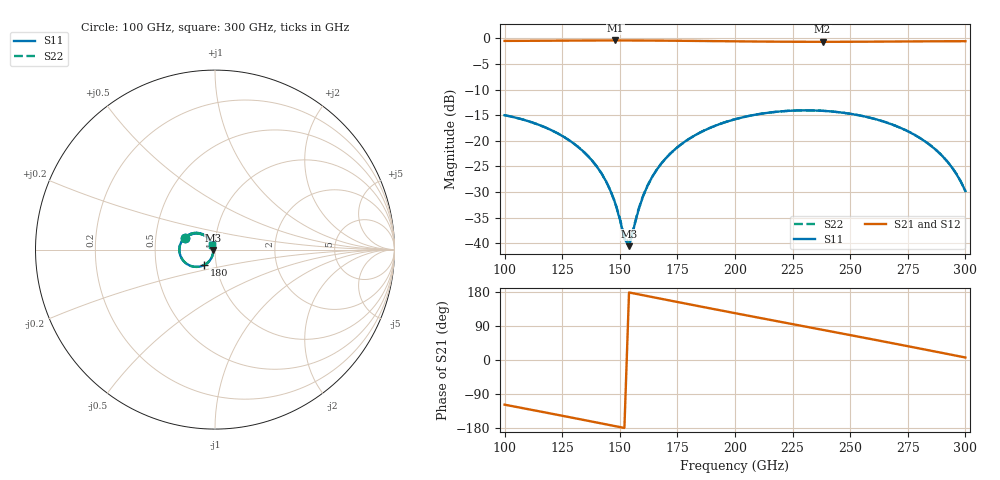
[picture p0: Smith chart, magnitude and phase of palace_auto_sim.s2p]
#  GHZ S DB R 50
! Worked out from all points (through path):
!   101 points, 100 GHz to 300 GHz, reference 50 ohm
!   highest |S21| = -0.41 dB at 148 GHz (marker M1); lowest = -0.7 dB at 238 GHz (marker M2)
!   group delay of S21, straight-line fit = 3.27 ps
!   lowest |S11| = -40.6 dB at 154 GHz (marker M3), VSWR 1.02, Z = 49.1 - j0.219 ohm
!   |S11| at or under -10 dB: start of sweep to end of sweep
!   |S22| runs from -40.0 to -14.0 dB; largest |S21 - S12| = 1.1e-14
!   S11 on the Smith chart (normalised r, x): 100 GHz: 0.71, +0.10; 180 GHz: 0.88, -0.15; 300 GHz: 0.97, +0.05
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100  -15.00 158.1  -0.49 -117.9  -0.49 -117.9  -14.99 158.3
120  -17.86 135.7  -0.45 -141.2  -0.45 -141.2  -17.85 136.1
134  -22.01 121.6  -0.42 -157.8  -0.42 -157.8  -22.00 122.1
142  -26.32 116.4  -0.41 -167.4  -0.41 -167.4  -26.30 117.2
148  -32.17 120.1  -0.41 -174.6  -0.41 -174.6  -32.08 121.5
152  -39.10 149.1  -0.41 -179.4  -0.41 -179.4  -38.71 150.8
154  -40.56 -166.2  -0.41 178.2  -0.41 178.2  -40.02 -167.0
158  -33.64 -119.8  -0.41 173.4  -0.41 173.4  -33.53 -121.2
160  -30.92 -114.9  -0.42 171.0  -0.42 171.0  -30.86 -115.9
164  -27.09 -112.8  -0.43 166.2  -0.43 166.2  -27.06 -113.5
168  -24.44 -114.4  -0.44 161.5  -0.44 161.5  -24.43 -114.9
180  -19.63 -124.8  -0.48 147.2  -0.48 147.2  -19.62 -125.0
200  -15.79 -145.9  -0.58 123.6  -0.58 123.6  -15.78 -146.0
218  -14.33 -165.5  -0.64 102.7  -0.64 102.7  -14.32 -165.5
234  -14.07 177.0  -0.67 84.2  -0.67 84.2  -14.06 177.0
238  -14.14 172.6  -0.67 79.6  -0.67 79.6  -14.14 172.7
252  -14.87 157.3  -0.65 63.4  -0.65 63.4  -14.86 157.4
268  -16.78 140.1  -0.62 44.7  -0.62 44.7  -16.77 140.3
278  -18.84 129.9  -0.59 32.9  -0.59 32.9  -18.83 130.1
288  -22.08 121.0  -0.57 21.0  -0.57 21.0  -22.07 121.4
294  -25.09 117.6  -0.56 13.8  -0.56 13.8  -25.07 118.1
300  -29.81 120.0  -0.55 6.6  -0.55 6.6  -29.77 120.7
